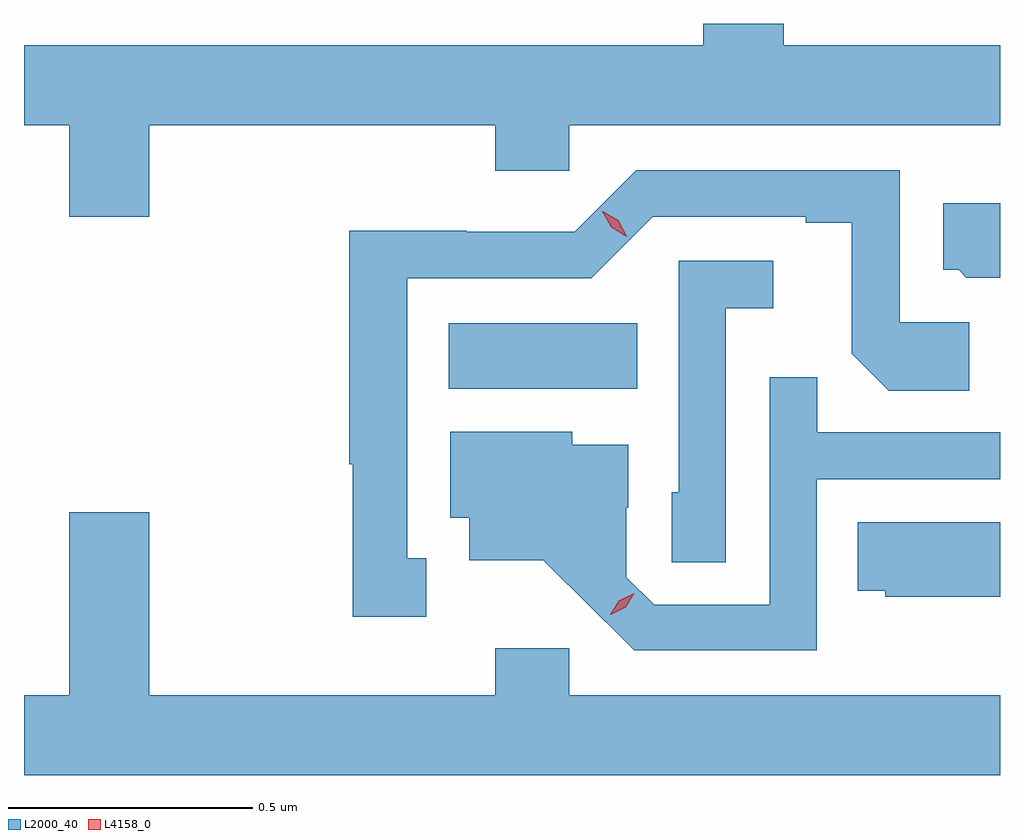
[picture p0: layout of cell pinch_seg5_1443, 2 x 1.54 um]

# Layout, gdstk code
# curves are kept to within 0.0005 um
import gdstk
lib = gdstk.Library(unit=1e-6, precision=1e-09)
def R(c, l, rs):  # rectangles x0, y0, x1, y1
    for r in rs: c.add(gdstk.rectangle(r[:2], r[2:], *l))
def P(c, l, *ps):  # polygons
    for p in ps: c.add(gdstk.Polygon(p, *l))
L2000_40 = (2000, 40)
L4158_0 = (4158, 0)

pinch_seg5_1443 = lib.new_cell('pinch_seg5_1443')
R(pinch_seg5_1443, L2000_40, [(165.785,901.508,166.172,901.642)])
P(pinch_seg5_1443, L2000_40, [(165.172,902.048),(165.881,902.048),(165.881,901.955),(166.032,901.955),(166.032,902.048),(166.915,902.048),(166.915,902.212),(166.472,902.212),(166.472,902.256),(166.307,902.256),(166.307,902.212),(164.915,902.212),(164.915,902.048),(165.008,902.048),(165.008,901.86),(165.172,901.86)],
  [(165.739,901.161),(165.7,901.161),(165.7,901.734),(166.077,901.734),(166.203,901.86),(166.517,901.86),(166.517,901.848),(166.611,901.848),(166.611,901.58),(166.687,901.504),(166.852,901.504),(166.852,901.644),(166.71,901.644),(166.71,901.956),(166.17,901.956),(166.044,901.83),(165.822,901.83),(165.822,901.832),(165.582,901.832),(165.582,901.353),(165.589,901.353),(165.589,901.041),(165.739,901.041)],
  [(166.915,901.888),(166.799,901.888),(166.799,901.752),(166.83,901.752),(166.846,901.736),(166.915,901.736)],
  [(166.353,901.673),(166.45,901.673),(166.45,901.77),(166.257,901.77),(166.257,901.296),(166.242,901.296),(166.242,901.153),(166.353,901.153)],
  [(166.539,901.323),(166.915,901.323),(166.915,901.419),(166.541,901.419),(166.541,901.532),(166.443,901.532),(166.443,901.065),(166.206,901.065),(166.149,901.122),(166.149,901.264),(166.153,901.264),(166.153,901.393),(166.038,901.393),(166.038,901.42),(165.788,901.42),(165.788,901.244),(165.827,901.244),(165.827,901.157),(165.979,901.157),(166.166,900.972),(166.539,900.972)],
  [(166.915,900.88),(166.032,900.88),(166.032,900.976),(165.881,900.976),(165.881,900.88),(165.172,900.88),(165.172,901.255),(165.008,901.255),(165.008,900.88),(164.915,900.88),(164.915,900.716),(166.915,900.716)],
  [(166.915,901.234),(166.624,901.234),(166.624,901.094),(166.68,901.094),(166.68,901.082),(166.915,901.082)])
P(pinch_seg5_1443, L4158_0, [(166.116,901.045),(166.116,901.045),(166.134,901.074),(166.165,901.089),(166.165,901.089),(166.165,901.089),(166.148,901.06),(166.117,901.045)],
  [(166.15,901.82),(166.118,901.839),(166.1,901.872),(166.1,901.872),(166.101,901.872),(166.133,901.853),(166.15,901.821),(166.15,901.82)])

lib.write_gds('pinch_seg5_1443.gds')
